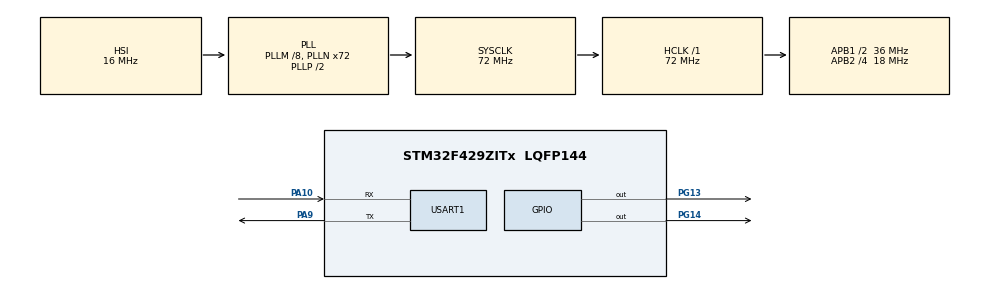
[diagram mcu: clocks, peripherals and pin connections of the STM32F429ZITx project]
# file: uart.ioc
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Mcu.Family=STM32F4
Mcu.Name=STM32F429ZITx
Mcu.Package=LQFP144
NVIC.PriorityGroup=NVIC_PRIORITYGROUP_0
NVIC.USART1_IRQn=true\:0\:0\:false\:false\:true\:true
PA10.Mode=Asynchronous
PA10.Signal=USART1_RX
PA13.Mode=Serial_Wire
PA13.Signal=SYS_JTMS-SWDIO
PA14.Mode=Serial_Wire
PA14.Signal=SYS_JTCK-SWCLK
PA9.Mode=Asynchronous
PA9.Signal=USART1_TX
PG13.GPIO_ModeDefaultOutputPP=GPIO_MODE_OUTPUT_PP
PG13.GPIO_PuPd=GPIO_NOPULL
PG13.PinState=GPIO_PIN_RESET
PG13.Signal=GPIO_Output
PG14.Signal=GPIO_Output
PH0/OSC_IN.Mode=HSE-External-Oscillator
PH0/OSC_IN.Signal=RCC_OSC_IN
PH1/OSC_OUT.Mode=HSE-External-Oscillator
PH1/OSC_OUT.Signal=RCC_OSC_OUT
ProjectManager.HeapSize=0x200
ProjectManager.StackSize=0x400
ProjectManager.TargetToolchain=Makefile
RCC.48MHZClocksFreq_Value=20571428.57142857
RCC.AHBFreq_Value=72000000
RCC.APB1CLKDivider=RCC_HCLK_DIV2
RCC.APB1Freq_Value=36000000
RCC.APB1TimFreq_Value=72000000
RCC.APB2CLKDivider=RCC_HCLK_DIV4
RCC.APB2Freq_Value=18000000
RCC.APB2TimFreq_Value=36000000
RCC.CortexFreq_Value=72000000
RCC.HCLKFreq_Value=72000000
RCC.HSE_VALUE=8000000
RCC.HSI_VALUE=16000000
RCC.LSE_VALUE=32768
RCC.PLLM=8
RCC.PLLN=72
RCC.PLLQ=7
RCC.SYSCLKFreq_VALUE=72000000
RCC.SYSCLKSource=RCC_SYSCLKSOURCE_PLLCLK
RCC.VCOOutputFreq_Value=144000000
USART1.VirtualMode=VM_ASYNC
board=32F429IDISCOVERY

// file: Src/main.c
/**
  ******************************************************************************
  * @file           : main.c
  * @brief          : Main program body
  ******************************************************************************
  ** This notice applies to any and all portions of this file
  * that are not between comment pairs USER CODE BEGIN and
  * USER CODE END. Other portions of this file, whether
  * inserted by the user or by software development tools
  * are owned by their respective copyright owners.
  *
  * COPYRIGHT(c) 2018 STMicroelectronics
  *
  * Redistribution and use in source and binary forms, with or without modification,
  * are permitted provided that the following conditions are met:
  *   1. Redistributions of source code must retain the above copyright notice,
  *      this list of conditions and the following disclaimer.
  *   2. Redistributions in binary form must reproduce the above copyright notice,
  *      this list of conditions and the following disclaimer in the documentation
  *      and/or other materials provided with the distribution.
  *   3. Neither the name of STMicroelectronics nor the names of its contributors
  *      may be used to endorse or promote products derived from this software
  *      without specific prior written permission.
  *
  * THIS SOFTWARE IS PROVIDED BY THE COPYRIGHT HOLDERS AND CONTRIBUTORS "AS IS"
  * AND ANY EXPRESS OR IMPLIED WARRANTIES, INCLUDING, BUT NOT LIMITED TO, THE
  * IMPLIED WARRANTIES OF MERCHANTABILITY AND FITNESS FOR A PARTICULAR PURPOSE ARE
  * DISCLAIMED. IN NO EVENT SHALL THE COPYRIGHT HOLDER OR CONTRIBUTORS BE LIABLE
  * FOR ANY DIRECT, INDIRECT, INCIDENTAL, SPECIAL, EXEMPLARY, OR CONSEQUENTIAL
  * DAMAGES (INCLUDING, BUT NOT LIMITED TO, PROCUREMENT OF SUBSTITUTE GOODS OR
  * SERVICES; LOSS OF USE, DATA, OR PROFITS; OR BUSINESS INTERRUPTION) HOWEVER
  * CAUSED AND ON ANY THEORY OF LIABILITY, WHETHER IN CONTRACT, STRICT LIABILITY,
  * OR TORT (INCLUDING NEGLIGENCE OR OTHERWISE) ARISING IN ANY WAY OUT OF THE USE
  * OF THIS SOFTWARE, EVEN IF ADVISED OF THE POSSIBILITY OF SUCH DAMAGE.
  *
  ******************************************************************************
  */
#include "main.h"
#include "stm32f4xx_hal.h"

UART_HandleTypeDef huart1;

/* USER CODE BEGIN PV */
/* Private variables ---------------------------------------------------------*/
#define RXBUFFERSIZE 1
#define USART_REC_LEN 20
uint8_t  aRxBuffer[RXBUFFERSIZE];
uint8_t* ptrRxBuffer = &aRxBuffer[0];
uint8_t  USART_RX_BUF[USART_REC_LEN];
uint8_t* ptr_buffer = &USART_RX_BUF[0];
uint8_t  msg_over_length[30] = "\n***Too long message***\n";
uint8_t* ptr_over_length = &msg_over_length[0];
uint16_t USART_RX_STA = 0x0000;

/* USER CODE END PV */

void SystemClock_Config(void);
static void MX_GPIO_Init(void);
static void MX_USART1_UART_Init(void);

/* USER CODE BEGIN PFP */
/* Private function prototypes -----------------------------------------------*/

///* -------------------For add func printf to STM32----------------------------*/
///*
// * @note: This is copied from STM32 HAL's example
// * @note: "With GCC, small printf (option LD Linker->Libraries->Small printf
// *          set to 'Yes') calls __io_putchar()"
// *          This note is also copied from STM32 HAL's example, but I could not find
// *          Small printf or something like that. But I add the syscalls.c to the
// *          project which has a _wirte function that is called by printf, puts, putc.
// * @note:  if you want to turn on the floating point output for printf.
// *        Add the linker flag: "-u _printf_float" in your project properties:
// *       Properties -> C/C++ Build -> Settings -> MCU GCC Linker ->
// *        Miscellaneous -> Linker flags
// *        like this:-specs=nosys.specs -specs=nano.specs -u _printf_float
// * */
//#ifdef __GNUC__
//#define PUTCHAR_PROTOTYPE int __io_putchar(int ch)
//#else
//#define PUTCHAR_PROTOTYPE int fputc(int ch, FILE *f)
//#endif /* __GNUC__ */
//
///**
//  * @brief  Retargets the C library printf function to the USART.
//  * @param  None
//  * @retval None
//  */
//PUTCHAR_PROTOTYPE
//{
//  /* Place your implementation of fputc here */
//  /* e.g. write a character to the USART3 and Loop until the end of transmission */
//  HAL_UART_Transmit(&UART1_Handler, (uint8_t *)&ch, 1, 0xFFFF);
//
//  return ch;
//}
///* ---------------------End of adding func printf to STM32-----------------------*/
/* USER CODE END PFP */

/* USER CODE BEGIN 0 */
void HAL_UART_RxCpltCallback(UART_HandleTypeDef *huart)
{
  //HAL_UART_Transmit(&huart1, &x_it_char, 1, 1000);
  if(huart1.Instance == USART1)
  {
    static uint8_t status = 1;
    //HAL_UART_Transmit(&huart1, &ptrRxBuffer[0], 1, 1000);
    switch(status)
    {
      case 1:
        if(ptrRxBuffer[0] == '^')
        {
          status = 2;
          USART_RX_STA |= 0x4000;   // Received Header "^"
        }
        else
        {
          status = 1;
          USART_RX_STA |= 0x0000;   // No Header
        }
        break;
      case 2:
        if(ptrRxBuffer[0] == '$')
        {
          status = 1;
          USART_RX_STA |= 0x8000;   // Received Done "$"
        }
        else
        {
          uint16_t index = USART_RX_STA&0x3FFF;
          //uint8_t rx =  USART_RX_BUF[index];
          //uint8_t px = ptrRxBuffer[0];
          USART_RX_BUF[index] = ptrRxBuffer[0];
          //rx = USART_RX_BUF[index];
          //px = ptrRxBuffer[0];
          USART_RX_STA++;
          if(index + 1> 20)
          {
            USART_RX_STA = 0;
            HAL_UART_Transmit(&huart1,
                              ptr_over_length,
                              strlen(msg_over_length),
                              100);
            status = 1;
          }
        }
        break;
      default:
        break;
    }
    //UNUSED(huart);
  }
}

/* USER CODE END 0 */

int main(void)
{

  /* MCU Configuration----------------------------------------------------------*/

  /* Reset of all peripherals, Initializes the Flash interface and the Systick. */
  HAL_Init();

  /* Configure the system clock */
  SystemClock_Config();

  /* Initialize all configured peripherals */
  MX_GPIO_Init();
  MX_USART1_UART_Init();
  /* USER CODE BEGIN 2 */
  HAL_UART_Receive_IT(&huart1, ptrRxBuffer, 1);
  uint8_t x_char = 'a';
  HAL_UART_Transmit_IT(&huart1, &x_char, 1);
  uint8_t len;
  uint16_t times=0;
  x_char = 'x';
  /* USER CODE END 2 */

  /* Infinite loop */
  /* USER CODE BEGIN WHILE */
  while (1)
  {
    //HAL_UART_Transmit(&huart1, &x_char, 1, 1000);
    if(USART_RX_STA&0x8000)
    {
      len = USART_RX_STA&0x3FFF;

      HAL_UART_Transmit_IT(&huart1,
                           ptr_buffer,
                           len);
      // Waiting for send finished
      while(__HAL_UART_GET_FLAG(&huart1, UART_FLAG_TC)!=SET);
      USART_RX_STA = 0;
    }
    else
    {
      times++;
      if(times%5000==0)
      {
        ;
      }
    }
  /* USER CODE END WHILE */

  }

}

void SystemClock_Config(void)
{

  RCC_OscInitTypeDef RCC_OscInitStruct;
  RCC_ClkInitTypeDef RCC_ClkInitStruct;

    /**Configure the main internal regulator output voltage
    */
  __HAL_RCC_PWR_CLK_ENABLE();

  __HAL_PWR_VOLTAGESCALING_CONFIG(PWR_REGULATOR_VOLTAGE_SCALE3);

    /**Initializes the CPU, AHB and APB busses clocks
    */
  RCC_OscInitStruct.OscillatorType = RCC_OSCILLATORTYPE_HSI;
  RCC_OscInitStruct.HSIState = RCC_HSI_ON;
  RCC_OscInitStruct.HSICalibrationValue = 16;
  RCC_OscInitStruct.PLL.PLLState = RCC_PLL_ON;
  RCC_OscInitStruct.PLL.PLLSource = RCC_PLLSOURCE_HSI;
  RCC_OscInitStruct.PLL.PLLM = 8;
  RCC_OscInitStruct.PLL.PLLN = 72;
  RCC_OscInitStruct.PLL.PLLP = RCC_PLLP_DIV2;
  RCC_OscInitStruct.PLL.PLLQ = 7;
  if (HAL_RCC_OscConfig(&RCC_OscInitStruct) != HAL_OK)
  {
    _Error_Handler(__FILE__, __LINE__);
  }

    /**Initializes the CPU, AHB and APB busses clocks
    */
  RCC_ClkInitStruct.ClockType = RCC_CLOCKTYPE_HCLK|RCC_CLOCKTYPE_SYSCLK
                              |RCC_CLOCKTYPE_PCLK1|RCC_CLOCKTYPE_PCLK2;
  RCC_ClkInitStruct.SYSCLKSource = RCC_SYSCLKSOURCE_PLLCLK;
  RCC_ClkInitStruct.AHBCLKDivider = RCC_SYSCLK_DIV1;
  RCC_ClkInitStruct.APB1CLKDivider = RCC_HCLK_DIV2;
  RCC_ClkInitStruct.APB2CLKDivider = RCC_HCLK_DIV4;

  if (HAL_RCC_ClockConfig(&RCC_ClkInitStruct, FLASH_LATENCY_2) != HAL_OK)
  {
    _Error_Handler(__FILE__, __LINE__);
  }

    /**Configure the Systick interrupt time
    */
  HAL_SYSTICK_Config(HAL_RCC_GetHCLKFreq()/1000);

    /**Configure the Systick
    */
  HAL_SYSTICK_CLKSourceConfig(SYSTICK_CLKSOURCE_HCLK);

  /* SysTick_IRQn interrupt configuration */
  HAL_NVIC_SetPriority(SysTick_IRQn, 0, 0);
}

/* USART1 init function */
static void MX_USART1_UART_Init(void)
{

  huart1.Instance = USART1;
  huart1.Init.BaudRate = 115200;
  huart1.Init.WordLength = UART_WORDLENGTH_8B;
  huart1.Init.StopBits = UART_STOPBITS_1;
  huart1.Init.Parity = UART_PARITY_NONE;
  huart1.Init.Mode = UART_MODE_TX_RX;
  huart1.Init.HwFlowCtl = UART_HWCONTROL_NONE;
  huart1.Init.OverSampling = UART_OVERSAMPLING_16;
  if (HAL_UART_Init(&huart1) != HAL_OK)
  {
    _Error_Handler(__FILE__, __LINE__);
  }

}

/** Configure pins as
        * Analog
        * Input
        * Output
        * EVENT_OUT
        * EXTI
*/
static void MX_GPIO_Init(void)
{

  GPIO_InitTypeDef GPIO_InitStruct;

  /* GPIO Ports Clock Enable */
  __HAL_RCC_GPIOH_CLK_ENABLE();
  __HAL_RCC_GPIOA_CLK_ENABLE();
  __HAL_RCC_GPIOG_CLK_ENABLE();

  /*Configure GPIO pin Output Level */
  HAL_GPIO_WritePin(GPIOG, GPIO_PIN_13|GPIO_PIN_14, GPIO_PIN_RESET);

  /*Configure GPIO pins : PG13 PG14 */
  GPIO_InitStruct.Pin = GPIO_PIN_13|GPIO_PIN_14;
  GPIO_InitStruct.Mode = GPIO_MODE_OUTPUT_PP;
  GPIO_InitStruct.Pull = GPIO_NOPULL;
  GPIO_InitStruct.Speed = GPIO_SPEED_FREQ_LOW;
  HAL_GPIO_Init(GPIOG, &GPIO_InitStruct);

}

void _Error_Handler(char *file, int line)
{
  while(1)
  {
  }
}

/************************ (C) COPYRIGHT STMicroelectronics *****END OF FILE****/
